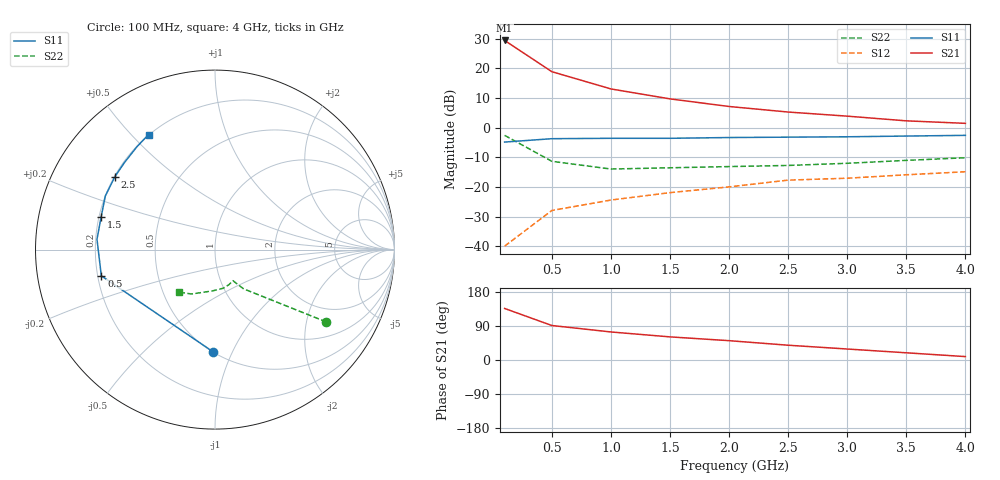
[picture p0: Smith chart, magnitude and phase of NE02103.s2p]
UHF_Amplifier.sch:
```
<Qucs Schematic 0.0.20>
<Properties>
  <View=76,-47,1123,813,0.692401,0,0>
  <Grid=10,10,1>
  <DataSet=UHF_Amplifier.dat>
  <DataDisplay=UHF_Amplifier.dpl>
  <OpenDisplay=0>
  <Script=UHF_Amplifier.m>
  <RunScript=0>
  <showFrame=0>
  <FrameText0=Title>
  <FrameText1=Drawn By:>
  <FrameText2=Date:>
  <FrameText3=Revision:>
</Properties>
<Symbol>
</Symbol>
<Components>
  <GND * 5 260 200 0 0 0 0>
  <GND * 5 360 340 0 0 0 0>
  <Pac P1 5 260 170 -86 -9 0 1 "1" 0 "50 Ohm" 1 "0 dBm" 0 "1 GHz" 0 "26.85" 0>
  <R R4 5 360 310 19 -6 0 1 "220 Ohm" 1 "26.85" 0 "0.0" 0 "0.0" 0 "26.85" 0 "european" 0>
  <C C4 5 310 120 -22 -36 0 0 "C1" 1 "" 0 "neutral" 0>
  <GND * 5 560 210 0 0 0 0>
  <GND * 5 640 340 0 0 0 0>
  <R R3 5 640 310 16 -10 0 1 "270 Ohm" 1 "26.85" 0 "0.0" 0 "0.0" 0 "26.85" 0 "european" 0>
  <R R2 5 560 180 15 -7 0 1 "R2" 1 "26.85" 0 "0.0" 0 "0.0" 0 "26.85" 0 "european" 0>
  <GND * 5 740 200 0 0 0 0>
  <Pac P2 5 740 170 -39 59 0 1 "2" 0 "50 Ohm" 1 "0 dBm" 0 "1 GHz" 0 "26.85" 0>
  <C C3 5 690 120 -19 -34 0 0 "C2" 1 "" 0 "neutral" 0>
  <R R1 5 440 50 -20 -31 0 0 "R1" 1 "26.85" 0 "0.0" 0 "0.0" 0 "26.85" 0 "european" 0>
  <L L1 5 560 50 -24 -32 0 0 "10 nH" 1 "" 0>
  <L L2 5 360 190 -51 -12 0 1 "L2" 1 "" 0>
  <L L3 5 640 190 13 -10 0 1 "L3" 1 "" 0>
  <C C5 5 360 80 18 -10 0 1 ".01 uF" 1 "" 0 "neutral" 0>
  <R R5 5 410 120 -18 15 0 0 "R3" 1 "26.85" 0 "0.0" 0 "0.0" 0 "26.85" 0 "european" 0>
  <.SP SP1 1 190 240 0 78 0 0 "lin" 0 "10 MHz" 1 "500 MHz" 1 "101" 0 "no" 0 "1" 0 "2" 0 "no" 0 "no" 0>
  <R R6 5 490 260 -25 13 0 0 "6.8 k" 1 "26.85" 0 "0.0" 0 "0.0" 0 "26.85" 0 "US" 0>
  <Vnoise V1 1 480 120 -18 21 0 2 "1e-19" 1 "0" 0 "1" 0 "0" 0>
  <Eqn Eqn1 1 840 -10 -30 16 0 0 "Gain_delta=max(dB(S[2,1]))-min(dB(S[2,1]))" 1 "Noise_Fig=20*log10(Vout.vn/4.55e-10)" 1 "Gain_dB=dB(S[2,1])" 1 "Input_RL=dB(S[1,1])" 1 "Input_RL_opt=min(abs(Input_RL))" 1 "Output_RL_opt=min(abs(Output_RL))" 1 "Output_RL=dB(S[2,2])" 1 "yes" 0>
  <.Opt Opt1 0 190 40 0 46 0 0 "Sim=SP1" 0 "DE=3|50|2|20|0.85|1|3|1e-6|10|100" 0 "Var=R3|yes|1.893332E+001|10|30|LIN_DOUBLE" 0 "Var=L3|yes|1.391039E-007|1e-8|2e-7|LIN_DOUBLE" 0 "Var=L2|yes|1.148903E-007|5e-8|5e-7|LIN_DOUBLE" 0 "Var=R2|yes|8.171219E+000|5|12|LIN_DOUBLE" 0 "Var=R1|yes|2.867975E+002|100|500|LIN_DOUBLE" 0 "Var=L1|yes|6.385347E-008|1e-8|1e-7|LIN_DOUBLE" 0 "Var=C1|yes|2.676456E-009|5e-10|7e-9|LIN_DOUBLE" 0 "Var=C2|yes|2.497671E-009|8e-10|3e-9|LIN_DOUBLE" 0 "Goal=Gain_dB|GE|10" 0 "Goal=Input_RL_opt|GE|20" 0 "Goal=Output_RL_opt|GE|20" 0 "Goal=Gain_delta|LE|.3" 0>
  <.AC AC1 1 820 220 0 46 0 0 "lin" 0 "10 MHz" 1 "500 MHz" 1 "101" 0 "yes" 0>
  <Eqn Eqn2 1 1020 230 -24 15 0 0 "C1=2.7e-9" 1 "C2=2.7e-9" 1 "L1=6.4e-8" 1 "L2=1.15e-7" 1 "L3=1.39e-7" 1 "R1=2.7e2" 1 "R2=8.2" 1 "R3=8.2" 1 "yes" 0>
  <SPfile X1 5 560 120 -68 -42 0 0 "./NE02103.s2p" 1 "rectangular" 0 "linear" 0 "open" 0 "2" 0>
</Components>
<Wires>
  <360 110 360 120 "" 0 0 0 "">
  <360 260 360 280 "" 0 0 0 "">
  <340 120 360 120 "" 0 0 0 "">
  <260 120 260 140 "" 0 0 0 "">
  <260 120 280 120 "" 0 0 0 "">
  <590 120 640 120 "" 0 0 0 "">
  <640 260 640 280 "" 0 0 0 "">
  <640 120 660 120 "" 0 0 0 "">
  <740 120 740 140 "" 0 0 0 "">
  <720 120 740 120 "" 0 0 0 "">
  <360 50 410 50 "" 0 0 0 "">
  <640 50 640 120 "" 0 0 0 "">
  <590 50 640 50 "" 0 0 0 "">
  <470 50 530 50 "" 0 0 0 "">
  <360 120 360 160 "" 0 0 0 "">
  <360 220 360 260 "" 0 0 0 "">
  <640 120 640 160 "" 0 0 0 "">
  <640 220 640 260 "" 0 0 0 "">
  <360 120 380 120 "" 0 0 0 "">
  <520 260 640 260 "" 0 0 0 "">
  <360 260 460 260 "" 0 0 0 "">
  <510 120 530 120 "" 0 0 0 "">
  <440 120 450 120 "" 0 0 0 "">
  <720 120 720 120 "Vout" 750 50 0 "">
</Wires>
<Diagrams>
  <Rect 180 680 240 160 3 #c0c0c0 1 00 1 -1 0.5 1 0 9 0.5 12 1 -1 1 1 315 0 225 "Frequency, Hz" "" "" "">
	<"Gain_dB" #0000ff 0 3 0 0 0>
  </Rect>
  <Rect 500 680 240 160 3 #c0c0c0 1 00 1 0 1e+08 5e+08 0 -40 10 0.1 1 -1 1 1 315 0 225 "Frequency, Hz" "" "" "">
	<"Input_RL" #0000ff 0 3 0 0 0>
	<"Output_RL" #ff0000 0 3 0 0 0>
  </Rect>
  <Rect 820 680 240 160 3 #c0c0c0 1 00 1 0 1e+08 5e+08 1 13.8909 0.2 14.4497 1 -1 1 1 315 0 225 "Frequency, Hz" "" "" "">
	<"Noise_Fig" #0000ff 0 3 0 0 0>
  </Rect>
</Diagrams>
<Paintings>
  <Text 180 390 12 #000000 0 "Optimization of small signal UHF amplifier for input/output return loss and flat gain response.\nA noise figure estimate is provided for information only and the bias resistors are estimates.\nNoise source, V1, is the estimated noise figure of the transistor at operating bias conditions.\nThe 10 nanohenry inductor is the approximate parasitic inductance of the feedback network.\nTo optimize, disable equation 2 and enable optimization.">
  <Text 180 -20 12 #ff0000 0 "Place desired S-parameter file in C:\\Users\\<user name>\\.qucs\\">
  <Text 600 350 12 #000000 0 "Vcc">
</Paintings>
```
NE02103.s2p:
! FILENAME:  NE02103
! BIAS CONDITIONS: Vc = 10 V, Ic = 20 mA
# MHZ S MA R 50
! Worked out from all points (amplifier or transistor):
!   9 points, 100 MHz to 4 GHz, reference 50 ohm
!   highest |S21| = 29.4 dB at 100 MHz (marker M1)
!   |S21| within 3 dB of that: start of sweep to 213.9 MHz
!   unconditionally stable (mu >= 1): 975.6 MHz to 3.736 GHz
!   at 500 MHz: K = 0.77, MSG = 23.4 dB, |S12| = -28.0 dB
!   at 2 GHz: K = 1.11, MAG = 11.5 dB, |S12| = -20.0 dB
!   at 4 GHz: K = 0.95, MSG = 8.2 dB, |S12| = -14.9 dB
!   S11 on the Smith chart (normalised r, x): 100 MHz: 0.50, -0.85; 500 MHz: 0.21, -0.11; 1.5 GHz: 0.21, +0.13; 2.5 GHz: 0.20, +0.31; 4 GHz: 0.20, +0.56
100  0.57 -91.0  29.51 136.0  0.01 65.0  0.74 -33.0
500  0.65 -167.0  8.77 91.0  0.04 58.0  0.27 -54.0
1000  0.66 175.0  4.49 74.0  0.06 54.0  0.2 -60.0
1500  0.66 164.0  3.05 61.0  0.08 54.0  0.21 -68.0
2000  0.68 154.0  2.27 51.0  0.1 55.0  0.22 -78.0
2500  0.69 144.0  1.83 39.0  0.13 50.0  0.23 -93.0
3000  0.7 136.0  1.56 29.0  0.14 45.0  0.25 -107.0
3500  0.72 127.0  1.3 19.0  0.16 42.0  0.28 -118.0
4000  0.74 120.0  1.18 9.0  0.18 39.0  0.31 -130.0
